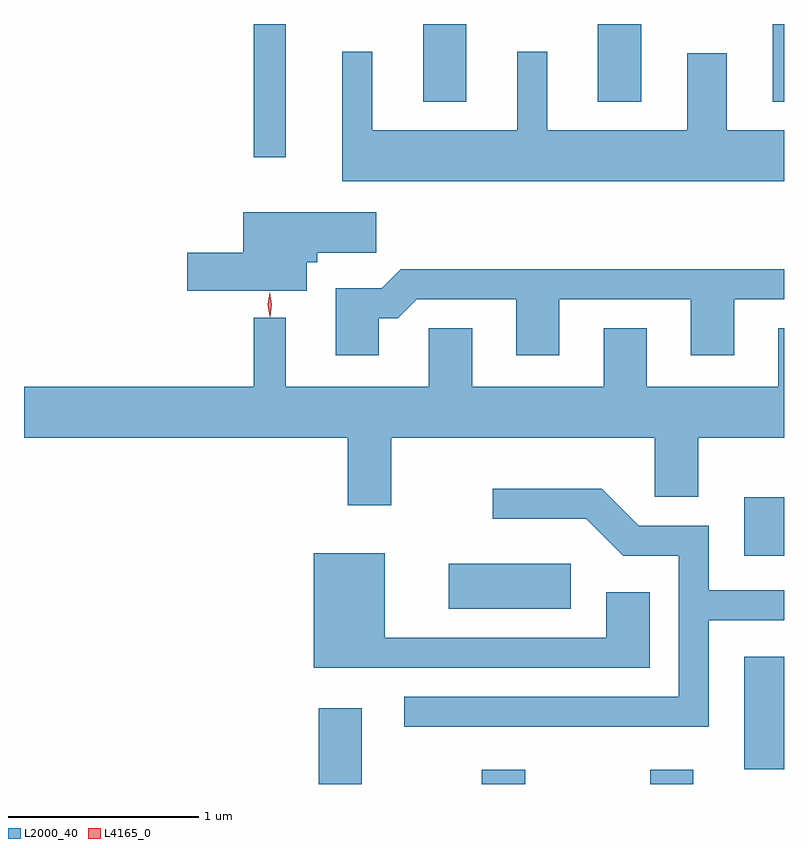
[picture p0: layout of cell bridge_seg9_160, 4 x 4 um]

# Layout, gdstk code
import gdstk
lib = gdstk.Library(unit=1e-6, precision=1e-09)
def R(c, l, rs):  # rectangles x0, y0, x1, y1
    for r in rs: c.add(gdstk.rectangle(r[:2], r[2:], *l))
def P(c, l, *ps):  # polygons
    for p in ps: c.add(gdstk.Polygon(p, *l))
L2000_40 = (2000, 40)
L4165_0 = (4165, 0)

bridge_seg9_160 = lib.new_cell('bridge_seg9_160')
R(bridge_seg9_160, L2000_40, [(1385.631,2047.714,1385.859,2048.114), (1386.491,2047.714,1386.719,2047.789), (1387.376,2047.714,1387.604,2047.789), (1387.871,2047.791,1388.081,2048.384), (1386.316,2048.636,1386.959,2048.874), (1387.871,2048.916,1388.081,2049.224), (1385.291,2051.012,1385.459,2051.714), (1386.181,2051.306,1386.409,2051.714), (1387.101,2051.306,1387.329,2051.714), (1388.021,2051.306,1388.081,2051.714)])
P(bridge_seg9_160, L2000_40, [(1388.081,2051.154),(1387.779,2051.154),(1387.779,2051.559),(1387.571,2051.559),(1387.571,2051.154),(1386.834,2051.154),(1386.834,2051.568),(1386.676,2051.568),(1386.676,2051.154),(1385.914,2051.154),(1385.914,2051.568),(1385.756,2051.568),(1385.756,2050.886),(1388.081,2050.886)],
  [(1385.569,2050.461),(1385.624,2050.461),(1385.624,2050.511),(1385.934,2050.511),(1385.934,2050.724),(1385.236,2050.724),(1385.236,2050.509),(1384.941,2050.509),(1384.941,2050.311),(1385.569,2050.311)],
  [(1385.949,2050.166),(1386.047,2050.166),(1386.147,2050.266),(1386.671,2050.266),(1386.671,2049.971),(1386.899,2049.971),(1386.899,2050.266),(1387.591,2050.266),(1387.591,2049.971),(1387.819,2049.971),(1387.819,2050.266),(1388.081,2050.266),(1388.081,2050.424),(1386.064,2050.424),(1385.964,2050.324),(1385.721,2050.324),(1385.721,2049.971),(1385.949,2049.971)],
  [(1386.014,2049.536),(1387.401,2049.536),(1387.401,2049.226),(1387.629,2049.226),(1387.629,2049.536),(1388.081,2049.536),(1388.081,2050.114),(1388.051,2050.114),(1388.051,2049.804),(1387.359,2049.804),(1387.359,2050.114),(1387.131,2050.114),(1387.131,2049.804),(1386.439,2049.804),(1386.439,2050.114),(1386.211,2050.114),(1386.211,2049.804),(1385.459,2049.804),(1385.459,2050.168),(1385.291,2050.168),(1385.291,2049.804),(1384.081,2049.804),(1384.081,2049.536),(1385.786,2049.536),(1385.786,2049.181),(1386.014,2049.181)],
  [(1387.684,2048.576),(1388.081,2048.576),(1388.081,2048.734),(1387.684,2048.734),(1387.684,2049.074),(1387.317,2049.074),(1387.122,2049.269),(1386.548,2049.269),(1386.548,2049.111),(1387.039,2049.111),(1387.234,2048.916),(1387.526,2048.916),(1387.526,2048.174),(1386.083,2048.174),(1386.083,2048.016),(1387.684,2048.016)],
  [(1387.374,2048.724),(1387.146,2048.724),(1387.146,2048.484),(1385.979,2048.484),(1385.979,2048.929),(1385.606,2048.929),(1385.606,2048.326),(1387.374,2048.326)])
P(bridge_seg9_160, L4165_0, [(1385.375,2050.173),(1385.374,2050.174),(1385.365,2050.237),(1385.374,2050.301),(1385.374,2050.301),(1385.375,2050.301),(1385.385,2050.237),(1385.376,2050.174)])

lib.write_gds('bridge_seg9_160.gds')
